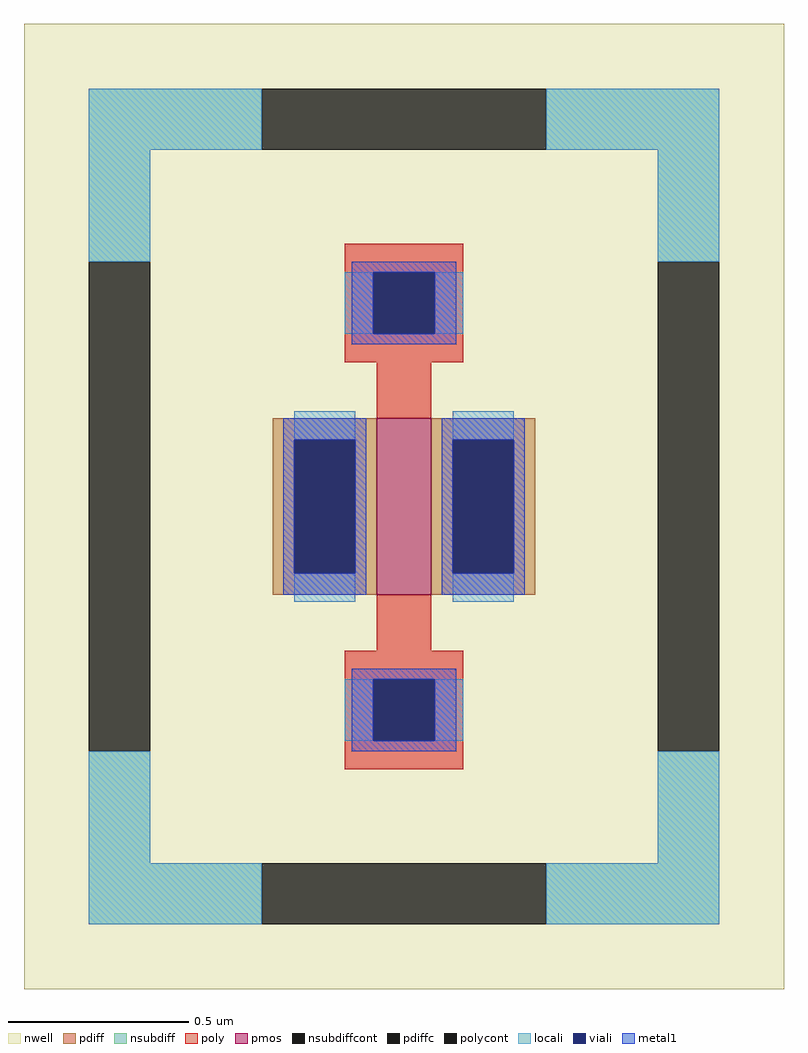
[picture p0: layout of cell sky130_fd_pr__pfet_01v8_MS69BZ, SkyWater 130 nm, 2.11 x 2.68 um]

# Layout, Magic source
magic
tech sky130A
magscale 1 2
<< nwell >>
rect -211 -268 211 268
<< pmos >>
rect -15 -49 15 49
<< pdiff >>
rect -73 37 -15 49
rect -73 -37 -61 37
rect -27 -37 -15 37
rect -73 -49 -15 -37
rect 15 37 73 49
rect 15 -37 27 37
rect 61 -37 73 37
rect 15 -49 73 -37
<< pdiffc >>
rect -61 -37 -27 37
rect 27 -37 61 37
<< nsubdiff >>
rect -175 198 -79 232
rect 79 198 175 232
rect -175 136 -141 198
rect 141 136 175 198
rect -175 -198 -141 -136
rect 141 -198 175 -136
rect -175 -232 -79 -198
rect 79 -232 175 -198
<< nsubdiffcont >>
rect -79 198 79 232
rect -175 -136 -141 136
rect 141 -136 175 136
rect -79 -232 79 -198
<< poly >>
rect -33 130 33 146
rect -33 96 -17 130
rect 17 96 33 130
rect -33 80 33 96
rect -15 49 15 80
rect -15 -80 15 -49
rect -33 -96 33 -80
rect -33 -130 -17 -96
rect 17 -130 33 -96
rect -33 -146 33 -130
<< polycont >>
rect -17 96 17 130
rect -17 -130 17 -96
<< locali >>
rect -175 198 -79 232
rect 79 198 175 232
rect -175 136 -141 198
rect 141 136 175 198
rect -33 96 -17 130
rect 17 96 33 130
rect -61 37 -27 53
rect -61 -53 -27 -37
rect 27 37 61 53
rect 27 -53 61 -37
rect -33 -130 -17 -96
rect 17 -130 33 -96
rect -175 -198 -141 -136
rect 141 -198 175 -136
rect -175 -232 -79 -198
rect 79 -232 175 -198
<< viali >>
rect -17 96 17 130
rect -61 -37 -27 37
rect 27 -37 61 37
rect -17 -130 17 -96
<< metal1 >>
rect -29 130 29 136
rect -29 96 -17 130
rect 17 96 29 130
rect -29 90 29 96
rect -67 37 -21 49
rect -67 -37 -61 37
rect -27 -37 -21 37
rect -67 -49 -21 -37
rect 21 37 67 49
rect 21 -37 27 37
rect 61 -37 67 37
rect 21 -49 67 -37
rect -29 -96 29 -90
rect -29 -130 -17 -96
rect 17 -130 29 -96
rect -29 -136 29 -130
<< properties >>
string gencell sky130_fd_pr__pfet_01v8
string FIXED_BBOX -158 -215 158 215
string parameters w 0.49 l 0.15 m 1 nf 1 diffcov 100 polycov 100 guard 1 glc 1 grc 1 gtc 1 gbc 1 tbcov 100 rlcov 100 topc 1 botc 1 poverlap 0 doverlap 1 lmin 0.15 wmin 0.42 compatible {sky130_fd_pr__pfet_01v8  sky130_fd_pr__pfet_01v8_lvt sky130_fd_pr__pfet_01v8_hvt  sky130_fd_pr__pfet_g5v0d10v5} full_metal 1 viasrc 100 viadrn 100 viagate 100 viagb 0 viagr 0 viagl 0 viagt 0
string library sky130
<< end >>
